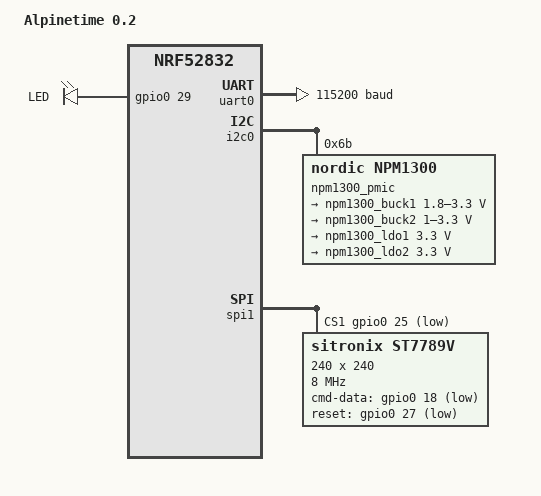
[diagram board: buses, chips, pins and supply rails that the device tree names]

/dts-v1/;
#include <nordic/nrf52832_qfaa.dtsi>
#include <dt-bindings/regulator/npm1300.h>
#include "alpinetime_0_2-pinctrl.dtsi"

/ {
	model = "Alpinetime 0.2";
	compatible = "oshw,alpinetime_0_2";

	chosen {
		zephyr,console = &uart0;
		zephyr,shell-uart = &uart0;
		zephyr,bt-mon-uart = &uart0;
		zephyr,bt-c2h-uart = &uart0;
		zephyr,sram = &sram0;
		zephyr,flash = &flash0;
		zephyr,code-partition = &slot0_partition;
		zephyr,display = &st7789v;
	};

	/* These aliases are provided for compatibility with samples */
	aliases {
		led0 = &led0;
		watchdog0 = &wdt0;
	};

	leds {
		compatible = "gpio-leds";
		led0: led_0 {
			gpios = <&gpio0 29 0>;
			label = "LED";
		};
	};
};

&gpiote {
	status = "okay";
};

&gpio0 {
	status = "okay";
};

&uart0 {
	compatible = "nordic,nrf-uart";
	current-speed = <115200>;
	status = "okay";
	pinctrl-0 = <&uart0_default>;
	pinctrl-1 = <&uart0_sleep>;
	pinctrl-names = "default", "sleep";
};

&i2c0 {
	compatible = "nordic,nrf-twim";
	status = "okay";
	pinctrl-0 = <&i2c0_default>;
	pinctrl-1 = <&i2c0_sleep>;
	pinctrl-names = "default", "sleep";

	npm1300_pmic: pmic@6b {
		compatible = "nordic,npm1300";
		reg = <0x6b>;

		npm1300_regulators: regulators {
			compatible = "nordic,npm1300-regulator";

			/* limits are set to min/max allowed values */
			npm1300_buck1: BUCK1 {
				regulator-min-microvolt = <1800000>;
				regulator-max-microvolt = <3300000>;
				regulator-init-microvolt = <1800000>;
				regulator-always-on;
			};

			npm1300_buck2: BUCK2 {
				regulator-min-microvolt = <1000000>;
				regulator-max-microvolt = <3300000>;
				regulator-init-microvolt = <2800000>;
				retention-microvolt = <2500000>;
			};

			npm1300_ldo1: LDO1 {
				regulator-min-microvolt = <0000000>;
				regulator-max-microvolt = <3300000>;
				regulator-init-microvolt = <3000000>;
				regulator-initial-mode = <NPM1300_LDSW_MODE_LDO>;
			};

			npm1300_ldo2: LDO2 {
				regulator-min-microvolt = <0000000>;
				regulator-max-microvolt = <3300000>;
				regulator-init-microvolt = <3300000>;
				regulator-initial-mode = <NPM1300_LDSW_MODE_LDO>;
			};
		};

		npm1300_charger: charger {
			compatible = "nordic,npm1300-charger";
			term-microvolt = <4150000>;
			term-warm-microvolt = <4000000>;
			current-microamp = <150000>;
			dischg-limit-microamp = <1000000>;
			vbus-limit-microamp = <500000>;
			thermistor-ohms = <10000>;
			thermistor-beta = <3380>;
			charging-enable;
		};
	};
};

&spi1 {
	compatible = "nordic,nrf-spi";
	status = "okay";

	cs-gpios = <&gpio0 5 GPIO_ACTIVE_LOW>, <&gpio0 25 GPIO_ACTIVE_LOW>;

	pinctrl-0 = <&spi1_default>;
	pinctrl-1 = <&spi1_sleep>;
	pinctrl-names = "default", "sleep";

	/* Sitronix ST7789V LCD */
	st7789v: st7789v@1 {
		compatible = "sitronix,st7789v";
		reg = <1>;
		spi-max-frequency = <8000000>; /* 8MHz */
		cmd-data-gpios = <&gpio0 18 GPIO_ACTIVE_LOW>;	/* DET */
		reset-gpios = <&gpio0 27 GPIO_ACTIVE_LOW>;	/* RESX reset */
		width = <240>;
		height = <240>;
		x-offset = <0>;
		y-offset = <0>;
		vcom = <0x19>;
		gctrl = <0x35>;
		vrhs = <0x12>;
		vdvs = <0x20>;
		mdac = <0x00>;
		gamma = <0x01>;
		colmod = <0x05>;
		lcm = <0x2c>;
		porch-param = [0c 0c 00 33 33];
		cmd2en-param = [5a 69 02 01];
		pwctrl1-param = [a4 a1];
		pvgam-param = [D0 04 0D 11 13 2B 3F 54 4C 18 0D 0B 1F 23];
		nvgam-param = [D0 04 0C 11 13 2C 3F 44 51 2F 1F 1F 20 23];
		ram-param = [00 F0];
		rgb-param = [CD 08 14];
	};
};

&flash0 {

	partitions {
		compatible = "fixed-partitions";
		#address-cells = <1>;
		#size-cells = <1>;

		boot_partition: partition@0 {
			label = "mcuboot";
			reg = <0x00000000 0x8000>;
		};
		slot0_partition: partition@8000 {
			label = "image-0";
			reg = <0x00008000 0x34000>;
		};
		slot1_partition: partition@3c000 {
			label = "image-1";
			reg = <0x0003c000 0x34000>;
		};
		scratch_partition: partition@70000 {
			label = "image-scratch";
			reg = <0x00070000 0xa000>;
		};

		/*
		 * The flash starting at 0x0007a000 and ending at
		 * 0x0007ffff (sectors 122-127) is reserved for use
		 * by the application.
		 * Storage partition will be used by FCB/LittleFS/NVS
		 * if enabled.
		 */
		storage_partition: partition@7a000 {
			label = "storage";
			reg = <0x0007a000 0x00006000>;
		};
	};
};
